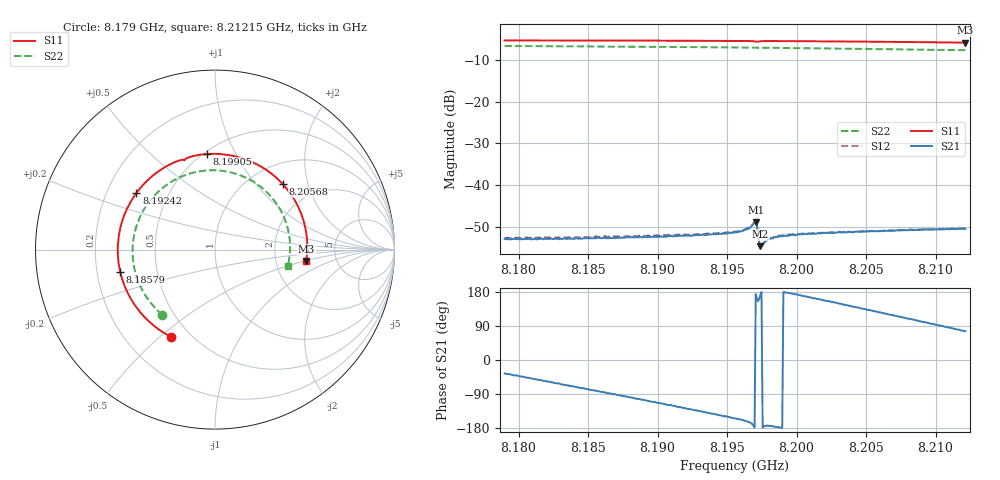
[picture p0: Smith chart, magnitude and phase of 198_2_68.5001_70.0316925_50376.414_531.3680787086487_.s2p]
#  HZ  S  RI  R  50.00
! Rohde & Schwarz Vector Network Analyzer
! Rohde-Schwarz,ZNB20-2Port,1311601062101988,3.16
! Created: UTC 3/20/2024, 4:57:24 PM
! freq[Hz]  re:S11  im:S11  re:S21  im:S21  re:S12  im:S12  re:S22  im:S22
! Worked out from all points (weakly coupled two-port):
!   401 points, 8.179 GHz to 8.21215 GHz, reference 50 ohm
!   highest |S21| = -48.89 dB at 8.19706 GHz (marker M1); lowest = -54.6 dB at 8.1974 GHz (marker M2)
!   lowest |S11| = -5.8 dB at 8.21215 GHz (marker M3), VSWR 3.10, Z = 150 - j25.7 ohm
!   |S11| at or under -10 dB: nowhere
!   |S22| runs from -7.6 to -6.6 dB; largest |S21 - S12| = 0.00019
!   S11 on the Smith chart (normalised r, x): 8.179 GHz: 0.39, -0.54; 8.18579 GHz: 0.30, -0.11; 8.19242 GHz: 0.33, +0.29; 8.19905 GHz: 0.52, +0.78; 8.20568 GHz: 1.40, +1.40; 8.21215 GHz: 3.00, -0.51
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8.178996e9  -0.2461 -0.4852  0.00184 -0.00131  0.00185 -0.00138  -0.2925 -0.3641
8.181648e9  -0.3925 -0.376  0.00136 -0.00184  0.00136 -0.0019  -0.3895 -0.2524
8.184549e9  -0.5014 -0.2077  0.000605 -0.0022  0.000626 -0.0023  -0.4495 -0.1035
8.185792e9  -0.5277 -0.1254  0.000293 -0.00231  0.000234 -0.00238  -0.4587 -0.0351
8.187947e9  -0.5414 0.0241  -0.000345 -0.00233  -0.000362 -0.0024  -0.45 0.0838
8.190102e9  -0.5129 0.1717  -0.000935 -0.00219  -0.00105 -0.00224  -0.4107 0.1966
8.192422e9  -0.4378 0.3155  -0.0016 -0.00187  -0.00173 -0.00194  -0.3371 0.3019
8.195572e9  -0.2736 0.4626  -0.00244 -0.00118  -0.0025 -0.00114  -0.1948 0.4034
8.196483e9  -0.2147 0.4911  -0.00285 -0.0009  -0.00297 -0.000816  -0.1471 0.4217
8.196898e9  -0.1845 0.5001  -0.00339 -0.000433  -0.00347 -0.000278  -0.1247 0.428
8.196981e9  -0.1779 0.5003  -0.00354 -0.000128  -0.0036 -2.57e-05  -0.1202 0.4292
8.197064e9  -0.1722 0.4992  -0.00357 0.000409  -0.00361 0.000532  -0.1157 0.4301
8.197395e9  -0.161 0.5072  -0.00183 0.000275  -0.00182 0.00033  -0.0976 0.4341
8.197478e9  -0.1552 0.5104  -0.00185 3.06e-05  -0.0019 0.000108  -0.093 0.435
8.198058e9  -0.1134 0.5229  -0.00225 -0.000229  -0.00228 -0.000152  -0.0605 0.4398
8.199053e9  -0.0429 0.5325  -0.00244 3.08e-05  -0.00249 0.000131  -0.00438 0.4422
8.201125e9  0.1028 0.5218  -0.00249 0.000734  -0.0025 0.000844  0.1117 0.4238
8.203362e9  0.2502 0.4658  -0.00226 0.00151  -0.00223 0.00158  0.2276 0.3692
8.205683e9  0.3785 0.3639  -0.00174 0.0022  -0.00168 0.00229  0.3265 0.2779
8.206677e9  0.4227 0.3086  -0.00143 0.00246  -0.00133 0.00253  0.3594 0.2298
8.209495e9  0.5025 0.1257  -0.000365 0.00289  -0.00031 0.00294  0.4145 0.0719
8.212147e9  0.5082 -0.0632  0.000717 0.00289  0.000795 0.0029  0.4062 -0.0886
